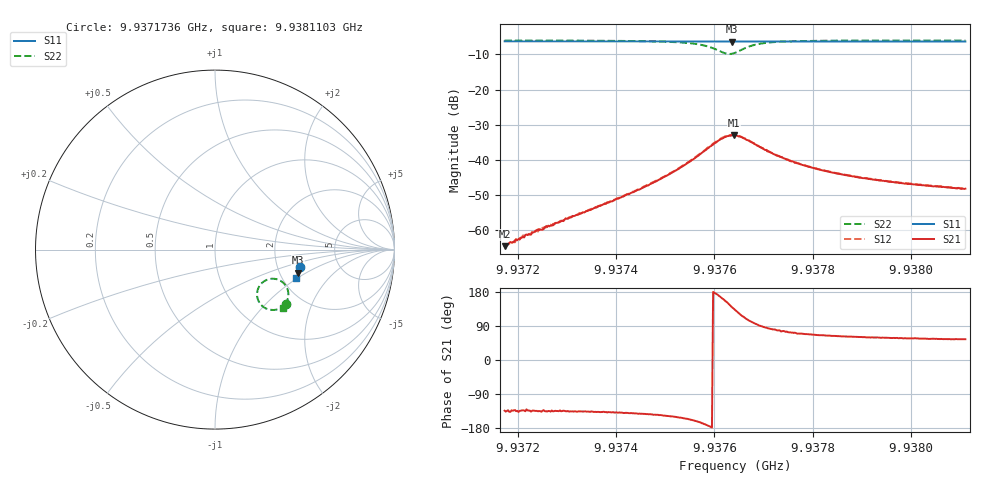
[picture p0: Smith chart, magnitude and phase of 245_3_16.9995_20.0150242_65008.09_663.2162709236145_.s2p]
#  HZ  S  RI  R  50.00
! Rohde & Schwarz Vector Network Analyzer
! Rohde-Schwarz,ZNB20-2Port,1311601062101988,3.16
! Created: UTC 3/20/2024, 11:03:03 PM
! freq[Hz]  re:S11  im:S11  re:S21  im:S21  re:S12  im:S12  re:S22  im:S22
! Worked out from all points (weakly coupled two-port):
!   401 points, 9.9371736 GHz to 9.9381103 GHz, reference 50 ohm
!   highest |S21| = -33.02 dB at 9.9376396 GHz (marker M1); lowest = -64.5 dB at 9.9371736 GHz (marker M2)
!   lowest |S11| = -6.4 dB at 9.9376349 GHz (marker M3), VSWR 2.84, Z = 126 - j41.8 ohm
!   |S11| at or under -10 dB: nowhere
!   |S22| runs from -9.9 to -6.1 dB; largest |S21 - S12| = 0.001
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9.93717358e9  0.4738 -0.0986  -0.000412 -0.00043  -0.000431 -0.000433  0.3952 -0.3019
9.93718997e9  0.4735 -0.0998  -0.000465 -0.000485  -0.000494 -0.000465  0.394 -0.3032
9.93721339e9  0.473 -0.1014  -0.000545 -0.000574  -0.000582 -0.000598  0.3919 -0.3052
9.93723915e9  0.4727 -0.1031  -0.000704 -0.000723  -0.000691 -0.000699  0.3899 -0.3072
9.93724852e9  0.4723 -0.1037  -0.000743 -0.000705  -0.000767 -0.000744  0.3892 -0.3079
9.93733049e9  0.4708 -0.1093  -0.00125 -0.00123  -0.00129 -0.0012  0.3804 -0.3153
9.93743119e9  0.4687 -0.116  -0.00261 -0.0022  -0.00267 -0.00219  0.3637 -0.3262
9.93748739e9  0.4674 -0.1199  -0.00432 -0.00297  -0.00443 -0.00295  0.3467 -0.3328
9.93753657e9  0.4659 -0.1233  -0.00735 -0.00367  -0.00754 -0.00359  0.319 -0.3365
9.93758107e9  0.4642 -0.1262  -0.0134 -0.00244  -0.0137 -0.0021  0.2704 -0.32
9.93761152e9  0.4628 -0.1276  -0.019 0.00425  -0.0191 0.00489  0.2346 -0.2592
9.93762557e9  0.4622 -0.1277  -0.0193 0.01  -0.0191 0.011  0.2424 -0.2124
9.93763493e9  0.4622 -0.1278  -0.0171 0.0142  -0.017 0.0149  0.2633 -0.1843
9.93763962e9  0.4622 -0.1279  -0.0159 0.0157  -0.0155 0.0165  0.2775 -0.1743
9.93764196e9  0.4621 -0.1281  -0.015 0.0165  -0.0146 0.0171  0.2851 -0.17
9.93767006e9  0.4627 -0.1294  -0.00467 0.0183  -0.00415 0.0183  0.3671 -0.1748
9.93769582e9  0.4628 -0.1315  0.000247 0.0149  0.00055 0.0149  0.3991 -0.2092
9.93774969e9  0.462 -0.1353  0.00285 0.00958  0.00296 0.00969  0.4088 -0.2568
9.93779887e9  0.461 -0.1389  0.00302 0.00714  0.00321 0.00717  0.4045 -0.2786
9.93785976e9  0.4595 -0.1431  0.0029 0.0055  0.00298 0.00551  0.3982 -0.2939
9.93795577e9  0.4572 -0.1493  0.00255 0.00416  0.00267 0.00417  0.3892 -0.3086
9.93811034e9  0.4531 -0.1594  0.00225 0.0032  0.00236 0.00316  0.3778 -0.3233
